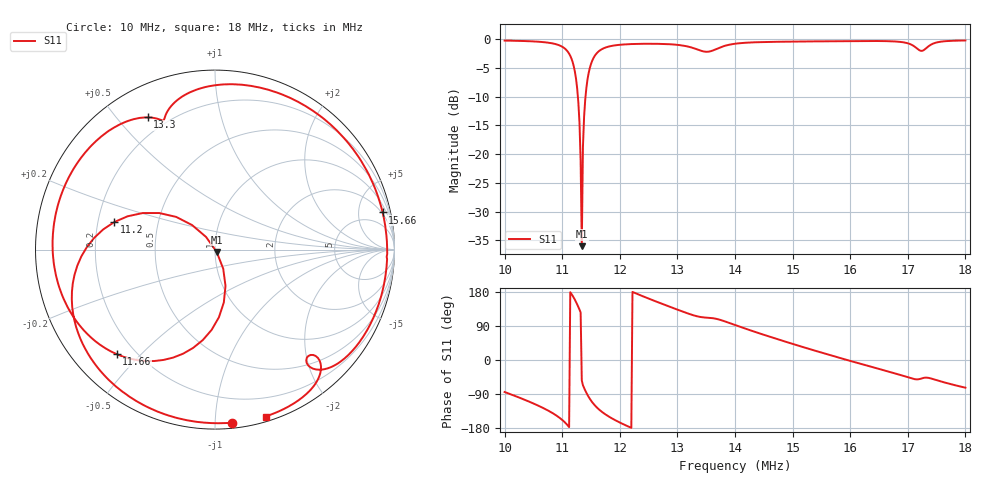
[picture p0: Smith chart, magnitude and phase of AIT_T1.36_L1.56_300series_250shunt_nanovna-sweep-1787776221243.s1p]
! NanoVNA Web complex sweep
! Processing: original sample grid, no browser smoothing
# Hz S RI R 50
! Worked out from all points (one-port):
!   401 points, 10 MHz to 18 MHz, reference 50 ohm
!   lowest |S11| = -36.0 dB at 11.34 MHz (marker M1), VSWR 1.03, Z = 50.9 - j1.3 ohm
!   |S11| at or under -10 dB: 11.27 MHz to 11.4 MHz (133.1 kHz wide, 1.17 % of centre)
!   S11 on the Smith chart (normalised r, x): 10 MHz: 0.03, -1.10; 11.2 MHz: 0.27, +0.12; 11.66 MHz: 0.13, -0.43; 13.3 MHz: 0.13, +0.60; 15.66 MHz: 1.80, +8.77; 18 MHz: 0.04, -1.35
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1e7  0.0945 -0.9645
1.058e7  -0.4765 -0.8196
1.1e7  -0.7956 -0.3193
1.112e7  -0.7448 -0.0381
1.12e7  -0.5609 0.1536
1.126e7  -0.3106 0.2037
1.13e7  -0.1276 0.1366
1.134e7  0.00934 -0.0128
1.138e7  0.0586 -0.2025
1.14e7  0.0491 -0.2945
1.142e7  0.0218 -0.377
1.146e7  -0.068 -0.5041
1.154e7  -0.2876 -0.6149
1.166e7  -0.5481 -0.5823
1.2e7  -0.8607 -0.2303
1.246e7  -0.8765 0.2428
1.3e7  -0.6059 0.6517
1.33e7  -0.3758 0.7367
1.4e7  -0.0386 0.9091
1.446e7  0.3444 0.8753
1.5e7  0.7 0.6419
1.566e7  0.9338 0.207
1.6e7  0.9565 -0.0401
1.654e7  0.8688 -0.4091
1.7e7  0.6423 -0.6564
1.73e7  0.5613 -0.5929
1.748e7  0.5681 -0.733
1.8e7  0.2818 -0.9299
